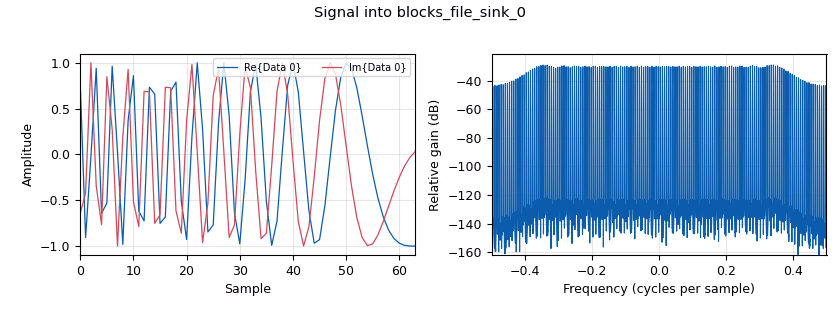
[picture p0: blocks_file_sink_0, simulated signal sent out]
options:
  parameters:
    author: Ben Cometto
    generate_options: qt_gui
    id: fmcw_chirpgen
    output_language: python
    title: LFMCW Radar Chirp Generator
  states: {}

blocks:
- name: alpha
  id: variable
  parameters:
    value: (max_freq-min_freq)/t_chirp
  states: {}
- name: c
  id: variable
  parameters:
    value: '300000000'
  states: {}
- name: chirp_length_s
  id: variable
  parameters:
    value: '1'
  states: {}
- name: max_freq
  id: variable
  parameters:
    value: samp_rate*0.4
  states: {}
- name: min_freq
  id: variable
  parameters:
    value: '-max_freq'
  states: {}
- name: samp_rate
  id: variable
  parameters:
    value: int(4e6)
  states: {}
- name: t_chirp
  id: variable
  parameters:
    value: '0.00004'
  states: {}
- name: analog_sig_source_x_0
  id: analog_sig_source_x
  parameters:
    amp: '1'
    freq: 1/t_chirp
    offset: '0'
    phase: '0'
    samp_rate: samp_rate
    type: float
    waveform: analog.GR_SAW_WAVE
  states: {}
- name: blocks_add_const_vxx_0
  id: blocks_add_const_vxx
  parameters:
    const: min_freq
    type: float
  states: {}
- name: blocks_file_sink_0
  id: blocks_file_sink
  parameters:
    file: C:\workspace\ece448_fmcw\chirps\chirp2.dat
    type: complex
  states: {}
- name: blocks_head_0
  id: blocks_head
  parameters:
    num_items: chirp_length_s*samp_rate
    type: complex
  states: {}
- name: blocks_multiply_const_vxx_0
  id: blocks_multiply_const_vxx
  parameters:
    const: (max_freq-min_freq)
    type: float
  states: {}
- name: blocks_throttle2_0
  id: blocks_throttle2
  parameters:
    samples_per_second: samp_rate
    type: float
  states: {}
- name: blocks_vco_c_0
  id: blocks_vco_c
  parameters:
    amplitude: '1'
    samp_rate: samp_rate
    sensitivity: 2*np.pi
  states: {}
- name: import_0
  id: import
  parameters:
    imports: import numpy as np
  states: {}

connections:
- [analog_sig_source_x_0, '0', blocks_throttle2_0, '0']
- [blocks_add_const_vxx_0, '0', blocks_vco_c_0, '0']
- [blocks_head_0, '0', blocks_file_sink_0, '0']
- [blocks_multiply_const_vxx_0, '0', blocks_add_const_vxx_0, '0']
- [blocks_throttle2_0, '0', blocks_multiply_const_vxx_0, '0']
- [blocks_vco_c_0, '0', blocks_head_0, '0']

metadata:
  file_format: 1
  grc_version: 3.10.10.0
